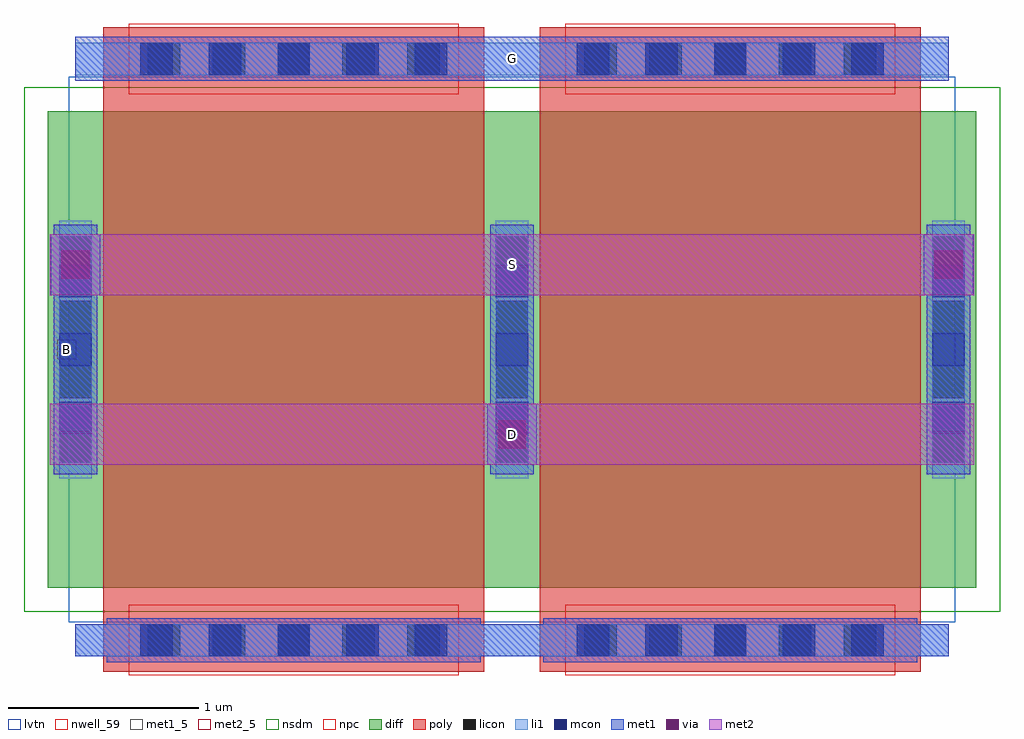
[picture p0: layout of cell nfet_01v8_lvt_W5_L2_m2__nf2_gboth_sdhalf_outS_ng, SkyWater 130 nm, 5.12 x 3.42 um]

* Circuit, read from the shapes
.subckt nfet_01v8_lvt_W5_L2_m2__nf2_gboth_sdhalf_outS_ng B D G S
XM1 D G S B sky130_fd_pr__nfet_01v8_lvt w=2.5 l=2 m=2
.ends

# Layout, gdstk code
import gdstk
lib = gdstk.Library(unit=1e-6, precision=1e-09)
def R(c, l, rs):  # rectangles x0, y0, x1, y1
    for r in rs: c.add(gdstk.rectangle(r[:2], r[2:], *l))
def A(c, l, x, y, w, h, nx, ny, dx, dy):  # array of equal rectangles
    R(c, l, [(x+i*dx, y+j*dy, x+i*dx+w, y+j*dy+h) for i in range(nx) for j in range(ny)])
nwell_59 = (64, 59)
diff = (65, 20)
poly = (66, 20)
licon = (66, 44)
li1 = (67, 20)
mcon = (67, 44)
met1_5 = (68, 5)
met1 = (68, 20)
via = (68, 44)
met2_5 = (69, 5)
met2 = (69, 20)
nsdm = (93, 44)
npc = (95, 20)
lvtn = (125, 44)

sky130_fd_pr__nfet_01v8_ = lib.new_cell('sky130_fd_pr__nfet_01v8_lvt_WB9F6U')
R(sky130_fd_pr__nfet_01v8_, diff, [(-2.435,-1.25,2.435,1.25)])
R(sky130_fd_pr__nfet_01v8_, poly, [(-2.145,-1.69,-0.145,1.69), (0.145,-1.69,2.145,1.69)])
A(sky130_fd_pr__nfet_01v8_, licon, -1.91, -1.61, 0.17, 0.17, 5, 2, 0.34, 3.05)
A(sky130_fd_pr__nfet_01v8_, licon, 0.38, -1.61, 0.17, 0.17, 5, 2, 0.34, 3.05)
A(sky130_fd_pr__nfet_01v8_, licon, -2.375, -0.595, 0.17, 0.17, 3, 4, 2.29, 0.34)
A(sky130_fd_pr__nfet_01v8_, li1, -2.375, -0.675, 0.17, 1.35, 3, 1, 2.29, 0)
R(sky130_fd_pr__nfet_01v8_, li1, [(-2.29,-1.61,2.29,-1.44), (-2.29,1.44,2.29,1.61)])
A(sky130_fd_pr__nfet_01v8_, mcon, -1.95, -1.61, 0.17, 0.17, 5, 2, 0.36, 3.05)
A(sky130_fd_pr__nfet_01v8_, mcon, 0.34, -1.61, 0.17, 0.17, 5, 2, 0.36, 3.05)
A(sky130_fd_pr__nfet_01v8_, mcon, -2.375, -0.445, 0.17, 0.17, 3, 3, 2.29, 0.36)
A(sky130_fd_pr__nfet_01v8_, met1, -2.405, -0.655, 0.23, 1.31, 3, 1, 2.29, 0)
R(sky130_fd_pr__nfet_01v8_, met1, [(-2.125,-1.64,-0.165,-1.61), (0.165,-1.64,2.125,-1.61), (-2.29,-1.61,2.29,-1.44), (-2.125,-1.44,-0.165,-1.41), (0.165,-1.44,2.125,-1.41), (-2.125,1.41,-0.165,1.44), (0.165,1.41,2.125,1.44), (-2.29,1.44,2.29,1.61), (-2.125,1.61,-0.165,1.64), (0.165,1.61,2.125,1.64)])
R(sky130_fd_pr__nfet_01v8_, nsdm, [(-2.56,-1.375,2.56,1.375)])
R(sky130_fd_pr__nfet_01v8_, npc, [(-2.01,-1.71,-0.28,-1.34), (0.28,-1.71,2.01,-1.34), (-2.01,1.34,-0.28,1.71), (0.28,1.34,2.01,1.71)])
R(sky130_fd_pr__nfet_01v8_, lvtn, [(-2.325,-1.43,2.325,1.43)])
sky130_fd_pr__nfet_01v8_.add(gdstk.Label('D0', (-2.29,0), layer=67, texttype=5))
sky130_fd_pr__nfet_01v8_.add(gdstk.Label('G', (1.145,1.525), layer=67, texttype=5))
sky130_fd_pr__nfet_01v8_.add(gdstk.Label('G', (-1.145,1.525), layer=67, texttype=5))
sky130_fd_pr__nfet_01v8_.add(gdstk.Label('S1', (0,0), layer=67, texttype=5))

nfet_01v8_lvt_w5_l2_m2__ = lib.new_cell('nfet_01v8_lvt_W5_L2_m2__nf2_gboth_sdhalf_outS_ng')
R(nfet_01v8_lvt_w5_l2_m2__, nwell_59, [(0.05,1.64,0.15,1.74)])
R(nfet_01v8_lvt_w5_l2_m2__, met1_5, [(0.145,3.1,4.725,3.33)])
R(nfet_01v8_lvt_w5_l2_m2__, met1, [(2.305,1.085,2.565,1.405), (0.015,1.975,0.275,2.295), (4.595,1.975,4.855,2.295), (0.145,3.1,4.725,3.33)])
R(nfet_01v8_lvt_w5_l2_m2__, via, [(2.36,1.17,2.51,1.32), (0.07,2.06,0.22,2.21), (4.65,2.06,4.8,2.21)])
R(nfet_01v8_lvt_w5_l2_m2__, met2_5, [(0.01,1.085,4.86,1.405), (0.01,1.975,4.86,2.295)])
R(nfet_01v8_lvt_w5_l2_m2__, met2, [(0.01,1.085,4.86,1.405), (0.01,1.975,4.86,2.295)])
nfet_01v8_lvt_w5_l2_m2__.add(gdstk.Reference(sky130_fd_pr__nfet_01v8_, (2.435,1.69)))
nfet_01v8_lvt_w5_l2_m2__.add(gdstk.Label('S', (2.435,2.135), layer=69, texttype=5))
nfet_01v8_lvt_w5_l2_m2__.add(gdstk.Label('D', (2.435,1.245), layer=69, texttype=5))
nfet_01v8_lvt_w5_l2_m2__.add(gdstk.Label('G', (2.435,3.215), layer=68, texttype=5))
nfet_01v8_lvt_w5_l2_m2__.add(gdstk.Label('B', (0.1,1.69), layer=64, texttype=59))

lib.write_gds('nfet_01v8_lvt_W5_L2_m2__nf2_gboth_sdhalf_outS_ng.gds')
